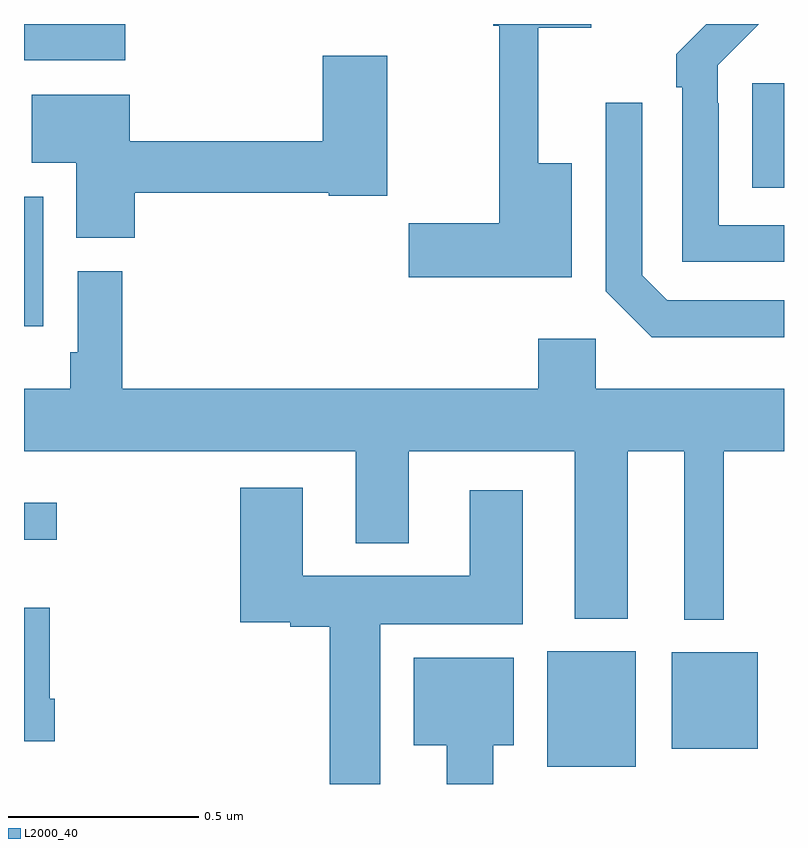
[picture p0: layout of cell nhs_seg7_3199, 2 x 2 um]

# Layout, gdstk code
import gdstk
lib = gdstk.Library(unit=1e-6, precision=1e-09)
def R(c, l, rs):  # rectangles x0, y0, x1, y1
    for r in rs: c.add(gdstk.rectangle(r[:2], r[2:], *l))
def P(c, l, *ps):  # polygons
    for p in ps: c.add(gdstk.Polygon(p, *l))
L2000_40 = (2000, 40)

nhs_seg7_3199 = lib.new_cell('nhs_seg7_3199')
R(nhs_seg7_3199, L2000_40, [(156.377,1073.045,156.61,1073.35), (156.704,1073.093,156.931,1073.347), (155,1073.643,155.086,1073.74), (155,1074.204,155.05,1074.546), (156.917,1074.569,157,1074.844), (155,1074.905,155.266,1075)])
P(nhs_seg7_3199, L2000_40, [(157,1074.471),(156.828,1074.471),(156.828,1074.791),(156.825,1074.791),(156.825,1074.891),(156.934,1075),(156.796,1075),(156.717,1074.921),(156.717,1074.833),(156.732,1074.833),(156.732,1074.375),(157,1074.375)],
  [(156.442,1074.634),(156.353,1074.634),(156.353,1074.99),(156.493,1074.99),(156.493,1075),(156.235,1075),(156.235,1074.995),(156.25,1074.995),(156.25,1074.476),(156.012,1074.476),(156.012,1074.334),(156.442,1074.334)],
  [(155.291,1074.556),(155.802,1074.556),(155.802,1074.548),(155.956,1074.548),(155.956,1074.916),(155.786,1074.916),(155.786,1074.692),(155.278,1074.692),(155.278,1074.814),(155.021,1074.814),(155.021,1074.635),(155.138,1074.635),(155.138,1074.438),(155.291,1074.438)],
  [(157,1074.273),(156.693,1074.273),(156.627,1074.339),(156.627,1074.793),(156.531,1074.793),(156.531,1074.297),(156.652,1074.176),(157,1074.176)],
  [(156.841,1073.876),(157,1073.876),(157,1074.04),(156.504,1074.04),(156.504,1074.172),(156.353,1074.172),(156.353,1074.04),(155.258,1074.04),(155.258,1074.349),(155.142,1074.349),(155.142,1074.136),(155.122,1074.136),(155.122,1074.04),(155,1074.04),(155,1073.876),(155.873,1073.876),(155.873,1073.633),(156.013,1073.633),(156.013,1073.876),(156.449,1073.876),(156.449,1073.435),(156.589,1073.435),(156.589,1073.876),(156.737,1073.876),(156.737,1073.432),(156.841,1073.432)],
  [(155.938,1073.42),(156.313,1073.42),(156.313,1073.773),(156.173,1073.773),(156.173,1073.548),(155.734,1073.548),(155.734,1073.779),(155.569,1073.779),(155.569,1073.426),(155.7,1073.426),(155.7,1073.414),(155.804,1073.414),(155.804,1073),(155.938,1073)],
  [(155.081,1073.224),(155.068,1073.224),(155.068,1073.464),(155,1073.464),(155,1073.112),(155.081,1073.112)],
  [(156.235,1073.102),(156.289,1073.102),(156.289,1073.332),(156.026,1073.332),(156.026,1073.102),(156.113,1073.102),(156.113,1073),(156.235,1073)])

lib.write_gds('nhs_seg7_3199.gds')
